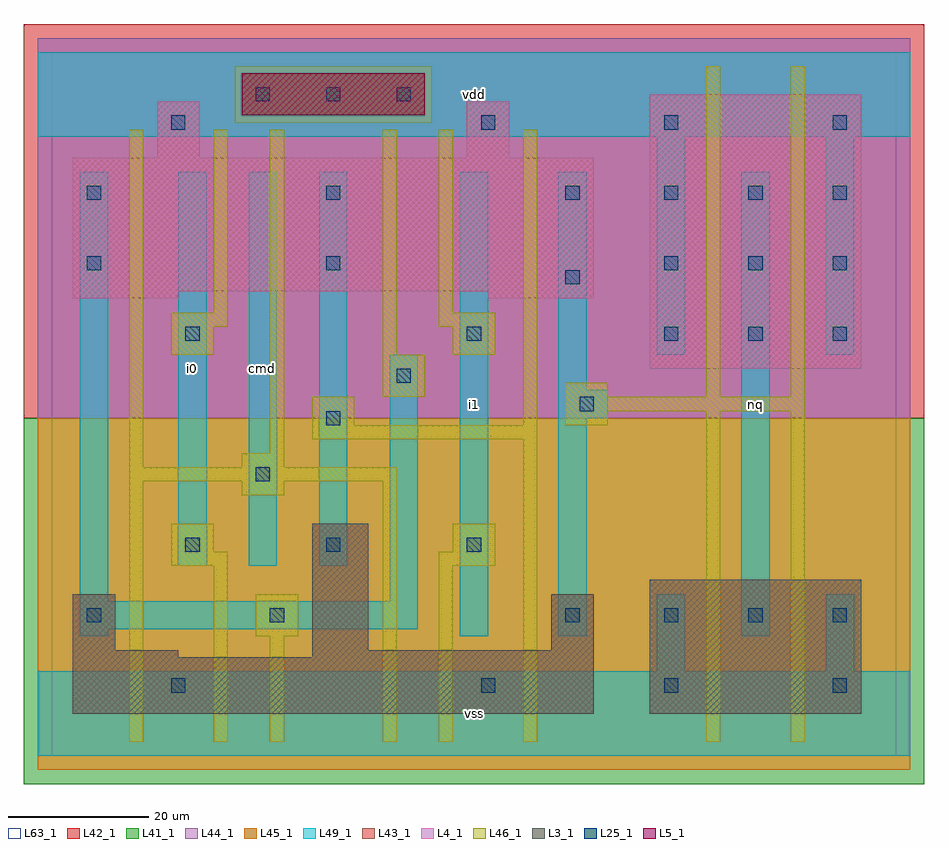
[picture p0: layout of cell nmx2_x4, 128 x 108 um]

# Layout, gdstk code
import gdstk
lib = gdstk.Library(unit=1e-6, precision=1e-09)
def R(c, l, rs):  # rectangles x0, y0, x1, y1
    for r in rs: c.add(gdstk.rectangle(r[:2], r[2:], *l))
def A(c, l, x, y, w, h, nx, ny, dx, dy):  # array of equal rectangles
    R(c, l, [(x+i*dx, y+j*dy, x+i*dx+w, y+j*dy+h) for i in range(nx) for j in range(ny)])
L3_1 = (3, 1)
L4_1 = (4, 1)
L5_1 = (5, 1)
L25_1 = (25, 1)
L41_1 = (41, 1)
L42_1 = (42, 1)
L43_1 = (43, 1)
L44_1 = (44, 1)
L45_1 = (45, 1)
L46_1 = (46, 1)
L49_1 = (49, 1)
L63_1 = (63, 1)

nmx2_x4 = lib.new_cell('nmx2_x4')
R(nmx2_x4, L3_1, [(3,6,77,14), (85,6,115,25), (3,14,18,15), (37,14,77,15), (3,15,9,23), (37,15,45,33), (71,15,77,23)])
R(nmx2_x4, L4_1, [(85,55,115,94), (3,65,18,66), (62,65,77,66), (3,66,77,85), (15,85,21,93), (59,85,65,93)])
R(nmx2_x4, L5_1, [(27,91,53,97)])
A(nmx2_x4, L25_1, 87, 19, 2, 2, 3, 2, 12, 40)
A(nmx2_x4, L25_1, 19, 29, 2, 2, 3, 1, 20, 0)
A(nmx2_x4, L25_1, 87, 69, 2, 2, 3, 2, 12, 10)
A(nmx2_x4, L25_1, 5, 79, 2, 2, 3, 1, 34, 0)
A(nmx2_x4, L25_1, 29, 93, 2, 2, 3, 1, 10, 0)
R(nmx2_x4, L25_1, [(17,9,19,11), (61,9,63,11), (87,9,89,11), (111,9,113,11), (5,19,7,21), (31,19,33,21), (73,19,75,21), (29,39,31,41), (39,47,41,49), (75,49,77,51), (49,53,51,55), (19,59,21,61), (59,59,61,61), (73,67,75,69), (5,69,7,71), (39,69,41,71), (17,89,19,91), (61,89,63,91), (87,89,89,91), (111,89,113,91)])
R(nmx2_x4, L41_1, [(-4,-4,124,48)])
R(nmx2_x4, L42_1, [(-4,48,124,104)])
R(nmx2_x4, L43_1, [(3,6,77,14), (85,6,115,25), (3,14,18,15), (37,14,77,15), (3,15,9,23), (37,15,45,33), (71,15,77,23), (85,55,115,94), (3,65,18,66), (62,65,77,66), (3,66,77,85), (15,85,21,93), (59,85,65,93), (27,91,53,97)])
R(nmx2_x4, L44_1, [(-2,48,122,90), (-2,90,26,98), (54,90,122,98), (-2,98,122,102)])
R(nmx2_x4, L45_1, [(-2,-2,122,48), (26,90,54,98)])
R(nmx2_x4, L46_1, [(11,2,13,39), (23,2,25,27), (31,2,33,17), (47,2,49,39), (55,2,57,27), (67,2,69,45), (93,2,95,49), (105,2,107,49), (29,17,35,23), (17,27,25,29), (55,27,63,29), (17,29,23,33), (57,29,63,33), (27,37,33,39), (11,39,49,41), (11,41,13,89), (27,41,33,43), (31,43,33,89), (37,45,69,47), (37,47,43,51), (67,47,69,89), (73,47,79,49), (73,49,107,51), (47,51,53,57), (73,51,79,53), (93,51,95,98), (105,51,107,98), (17,57,23,61), (47,57,49,89), (57,57,63,61), (17,61,25,63), (55,61,63,63), (23,63,25,89), (55,63,57,89)])
A(nmx2_x4, L49_1, 18, 27, 4, 56, 3, 1, 10, 0)
R(nmx2_x4, L49_1, [(-2,0,122,12), (86,12,90,23), (110,12,114,23), (4,17,8,18), (58,17,62,83), (72,17,76,48), (98,17,102,83), (4,18,52,22), (4,22,8,83), (48,22,52,57), (72,48,79,52), (72,52,76,83), (86,57,90,88), (110,57,114,88), (-2,88,122,100)])
R(nmx2_x4, L63_1, [(0,0,120,100)])
nmx2_x4.add(gdstk.Label('i0', (20,55), layer=49, texttype=1))
nmx2_x4.add(gdstk.Label('cmd', (30,55), layer=49, texttype=1))
nmx2_x4.add(gdstk.Label('vss', (60,6), layer=49, texttype=1))
nmx2_x4.add(gdstk.Label('i1', (60,50), layer=49, texttype=1))
nmx2_x4.add(gdstk.Label('vdd', (60,94), layer=49, texttype=1))
nmx2_x4.add(gdstk.Label('nq', (100,50), layer=49, texttype=1))

lib.write_gds('nmx2_x4.gds')
